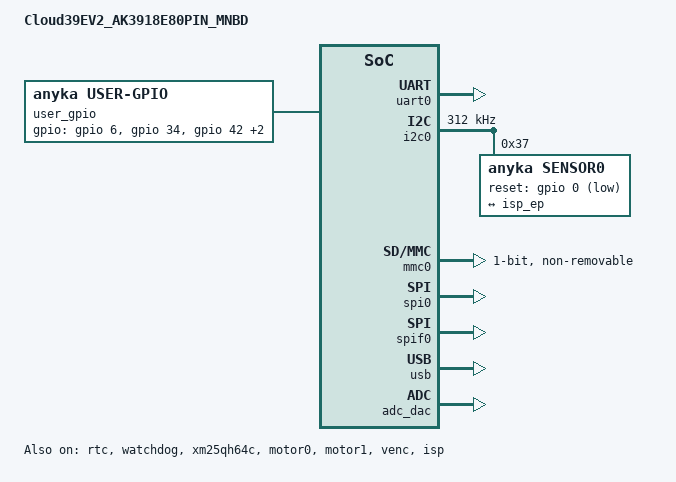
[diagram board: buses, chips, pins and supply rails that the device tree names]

/dts-v1/;
#include "anycloud_ak3918ev200.dtsi"
#include "anycloud_ak39ev330_norflash.dtsi"

/ {
	compatible = "anyka,ak3918ev200";
	model = "Cloud39EV2_AK3918E80PIN_MNBD";
	version = "V2.00";
};

&gpio {

	uart0_pins: uart0_pins {
		anyka,pins = <1 2>;
		anyka,function = <1>;
		anyka,pull = <0x00000010>;
	};

	i2c0_pins: i2c0_pins {
		anyka,pins = <27 28>;
		anyka,function = <1>;
		anyka,pull = <0x00000010>;
	};

	user_gpio_pins: user_gpio_pins {
		anyka,pins = <6 24 41 42>;
		anyka,function = <0>;
		anyka,pull = <0x00000010>;
	};

	gpiokey_pins: gpiokey_pins {
		anyka,pins = <47>;
		anyka,function = <0>;
		anyka,pull = <0x00000010>;
	};

	mci0_pins: mci0_pins {
		anyka,pins = <31 32 33>;
		anyka,function = <1>;
		anyka,pull = <0x00000010>;
	};

	spiflash_pins: spiflash_pins {
		anyka,pins = <25 26 35 36>;
		anyka,function = <1 1 2 2>;
		anyka,pull = <0x00000010>;
	};

	wifi_en_pins: wifi_en_pins {
		anyka,pins = <34>;
		anyka,function = <0>;
		anyka,pull = <0x00000010>;
	};

	motor0_pins: motor0_pins {
		anyka,pins = <19 20 10 11>;
		anyka,function = <0>;
		anyka,pull = <0x00000010>;
	};

	motor1_pins: motor1_pins {
		anyka,pins = <15 14 13 23>;
		anyka,function = <0>;
		anyka,pull = <0x00000010>;
	};

	speak_gpio_pins: speak_gpio_pins {
		anyka,pins = <7>;
		anyka,function = <0>;
		anyka,pull = <0x00000010>;
	};

	dvp0_8bits_pins: dvp0_8bits_pins {
		anyka,pins = <64 65 66 67 68 69 70 71 72 73 74 75>;
		anyka,function = <0>;
		anyka,pull = <0x00000001>;
	};
};

&rtc {
	osc-select = <1>;
	adjust-time = <120000>;
	status = "okay";
};

&watchdog {
	def_heartbeat = <10>;
	status = "okay";
};

&uart0 {
	pinctrl-names = "default";
	pinctrl-0 = <&uart0_pins>;
	status = "okay";
};

&i2c0 {
	pinctrl-names = "default";
	pinctrl-0 = <&i2c0_pins>;

	clock-frequency = <312000>;
	sda-delay = <100>;
	status = "okay";
	#address-cells = <1>;
	#size-cells = <0>;

	sensor0: camera@37 {
		compatible = "anyka,sensor0";
		reg = <0x37>;
		reset-gpio = <&gpio 0 1>;
		status = "okay";

		port {
			sensor_ep: endpoint {
				remote-endpoint = <&isp_ep>;
			};
		};
	};
};

&ircut {
	status = "disable";
};

&gpiokeys {
	#address-cells = <1>;
	#size-cells = <0>;
	pinctrl-0 = <&gpiokey_pins>;
	pinctrl-names = "default";
	status = "okay";

	key_detect {
		label = "key_detect";
		gpios = <&gpio 47 1>;
		linux,code = <116>;
		debounce-interval = <100>;
		wakeup-source;
	};
};

&mmc0 {
	compatible = "anyka,ak3918ev200-mmc0", "anyka,ak39ev330-mmc0";
	pinctrl-names = "default";
	pinctrl-0 = <&mci0_pins>;

	/* DAT1's pad is wifi_en on this board, so DAT0 is the whole bus. */
	bus-width = <1>;
	max-frequency = <25000000>;
	non-removable;
	broken-cd;
	status = "okay";
};

/ {
	wifi_pwrseq: wifi_pwrseq {
		compatible = "anyka,sdio-wifi-pwrseq";
		pinctrl-names = "default";
		pinctrl-0 = <&wifi_en_pins>;

		enable-gpios = <&gpio 34 0>;
		power-on-delay-ms = <2000>;
		power-off-delay-ms = <200>;
		status = "disable";
	};
};

&spi0 {
	pinctrl-names = "default";
	pinctrl-0 = <&spiflash_pins>;
	status = "okay";
};

&spif0 {
	spi-max-frequency = <20000000>;
	spi-tx-bus-width = <4>;
	spi-rx-bus-width = <4>;
	status = "okay";
};

&xm25qh64c {
	status = "okay";
};

&motor0 {
	pinctrl-names = "default";
	pinctrl-0 = <&motor0_pins>;
	phase-gpios = <&gpio 19 0>, <&gpio 20 0>, <&gpio 10 0>, <&gpio 11 0>;
	angular-speed = <28>;
	status = "okay";
};

&motor1 {
	pinctrl-names = "default";
	pinctrl-0 = <&motor1_pins>;
	phase-gpios = <&gpio 15 0>, <&gpio 14 0>, <&gpio 13 0>, <&gpio 23 0>;
	angular-speed = <28>;
	status = "okay";
};

/ {
	user_gpio: user-gpio {
		compatible = "anyka,user-gpio";
		pinctrl-names = "default";
		pinctrl-0 = <&user_gpio_pins>;

		gpio-names = "IR_LED", "wifi_en", "ircut_a", "ircut_b",
			     "WHITE_LED";
		gpios = <&gpio 6 0>, <&gpio 34 0>, <&gpio 42 0>,
			<&gpio 41 0>, <&gpio 24 0>;
		output-defaults = <1 1 0 0 0>;
		status = "okay";
	};
};

&vencoder {
	status = "disabled";
};

&venc {
	memory-region = <&video_pool>;
	status = "okay";
};

&usb {
	status = "okay";
};

&isp {
	pinctrl-names = "default";
	pinctrl-0 = <&dvp0_8bits_pins>;

	clocks = <&gclk_asic 17>;
	clock-names = "camera";
	mclk-mhz = <27>;
	memory-region = <&video_pool>;
	status = "okay";

	port {
		isp_ep: endpoint {
			remote-endpoint = <&sensor_ep>;
		};
	};
};

&adc_dac {
	/* ADC2_CONFIG/DATA at 0x20118000 extend the block through 0x2011800F. */
	reg = <0x08000000 0xffff>, <0x20110000 0x8010>;
	pinctrl-names = "default";
	pinctrl-0 = <&speak_gpio_pins>;

	speak-gpios = <&gpio 7 1>;
	speak-gpios-en = <1>;
	anyka,playback-mode = <1>;
	status = "okay";
};
